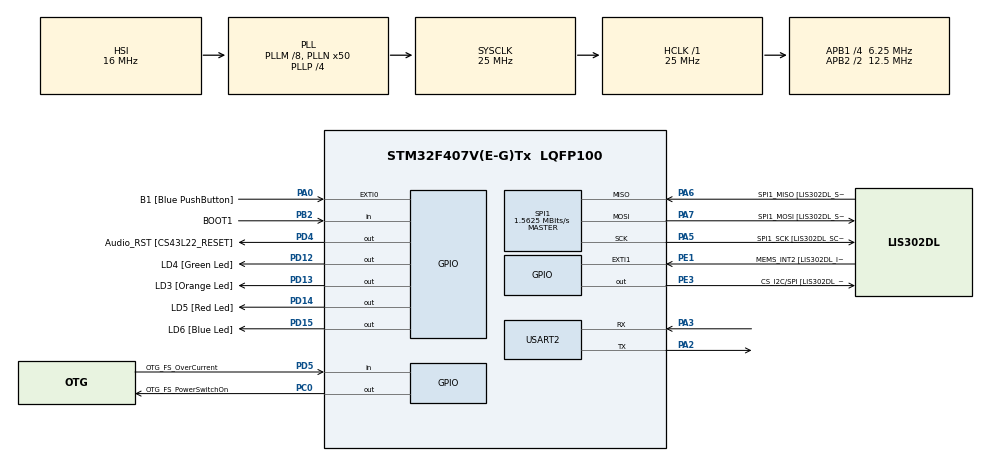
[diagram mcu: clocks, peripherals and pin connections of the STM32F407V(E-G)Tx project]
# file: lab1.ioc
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Mcu.Family=STM32F4
Mcu.Name=STM32F407V(E-G)Tx
Mcu.Package=LQFP100
NVIC.PriorityGroup=NVIC_PRIORITYGROUP_0
PA0-WKUP.GPIO_Label=B1 [Blue PushButton]
PA0-WKUP.Signal=GPXTI0
PA10.GPIO_Label=OTG_FS_ID
PA10.GPIO_Mode=GPIO_MODE_AF_PP
PA10.GPIO_PuPd=GPIO_NOPULL
PA10.GPIO_Speed=GPIO_SPEED_FREQ_LOW
PA10.Signal=USB_OTG_FS_ID
PA11.GPIO_Label=OTG_FS_DM
PA11.GPIO_Mode=GPIO_MODE_AF_PP
PA11.GPIO_PuPd=GPIO_NOPULL
PA11.GPIO_Speed=GPIO_SPEED_FREQ_LOW
PA11.Signal=USB_OTG_FS_DM
PA12.GPIO_Label=OTG_FS_DP
PA12.GPIO_Mode=GPIO_MODE_AF_PP
PA12.GPIO_PuPd=GPIO_NOPULL
PA12.GPIO_Speed=GPIO_SPEED_FREQ_LOW
PA12.Signal=USB_OTG_FS_DP
PA13.GPIO_Label=SWDIO
PA13.Signal=SYS_JTMS-SWDIO
PA14.GPIO_Label=SWCLK
PA14.Signal=SYS_JTCK-SWCLK
PA2.Mode=Asynchronous
PA2.Signal=USART2_TX
PA3.Mode=Asynchronous
PA3.Signal=USART2_RX
PA4.GPIO_Label=I2S3_WS [CS43L22_LRCK]
PA4.GPIO_Mode=GPIO_MODE_AF_PP
PA4.GPIO_PuPd=GPIO_NOPULL
PA4.GPIO_Speed=GPIO_SPEED_FREQ_LOW
PA4.Signal=I2S3_WS
PA5.GPIO_Label=SPI1_SCK [LIS302DL_SCL/SPC]
PA5.GPIO_Mode=GPIO_MODE_AF_PP
PA5.GPIO_PuPd=GPIO_NOPULL
PA5.GPIO_Speed=GPIO_SPEED_FREQ_LOW
PA5.Mode=Full_Duplex_Master
PA5.Signal=SPI1_SCK
PA6.GPIO_Label=SPI1_MISO [LIS302DL_SDO]
PA6.GPIO_Mode=GPIO_MODE_AF_PP
PA6.GPIO_PuPd=GPIO_NOPULL
PA6.GPIO_Speed=GPIO_SPEED_FREQ_LOW
PA6.Mode=Full_Duplex_Master
PA6.Signal=SPI1_MISO
PA7.GPIO_Label=SPI1_MOSI [LIS302DL_SDA/SDI/SDO]
PA7.GPIO_Mode=GPIO_MODE_AF_PP
PA7.GPIO_PuPd=GPIO_NOPULL
PA7.GPIO_Speed=GPIO_SPEED_FREQ_LOW
PA7.Mode=Full_Duplex_Master
PA7.Signal=SPI1_MOSI
PA9.GPIO_Label=VBUS_FS
PA9.GPIO_Mode=GPIO_MODE_INPUT
PA9.GPIO_PuPd=GPIO_NOPULL
PA9.Signal=USB_OTG_FS_VBUS
PB10.GPIO_Label=CLK_IN [MP45DT02_CLK]
PB10.GPIO_Mode=GPIO_MODE_AF_PP
PB10.GPIO_PuPd=GPIO_NOPULL
PB10.GPIO_Speed=GPIO_SPEED_FREQ_LOW
PB10.Signal=I2S2_CK
PB2.GPIO_Label=BOOT1
PB2.GPIO_Mode=GPIO_MODE_INPUT
PB2.GPIO_PuPd=GPIO_NOPULL
PB2.Signal=GPIO_Input
PB3.GPIO_Label=SWO
PB3.Signal=SYS_JTDO-SWO
PB6.GPIO_Label=Audio_SCL [CS43L22_SCL]
PB6.GPIO_Mode=GPIO_MODE_AF_OD
PB6.GPIO_PuPd=GPIO_NOPULL
PB6.GPIO_Speed=GPIO_SPEED_FREQ_LOW
PB6.Signal=I2C1_SCL
PB9.GPIO_Label=Audio_SDA [CS43L22_SDA]
PB9.GPIO_Mode=GPIO_MODE_AF_OD
PB9.GPIO_PuPd=GPIO_NOPULL
PB9.GPIO_Speed=GPIO_SPEED_FREQ_LOW
PB9.Signal=I2C1_SDA
PC0.GPIO_Label=OTG_FS_PowerSwitchOn
PC0.GPIO_PuPd=GPIO_NOPULL
PC0.GPIO_Speed=GPIO_SPEED_FREQ_LOW
PC0.PinState=GPIO_PIN_SET
PC0.Signal=GPIO_Output
PC10.GPIO_Label=I2S3_SCK [CS43L22_SCLK]
PC10.GPIO_Mode=GPIO_MODE_AF_PP
PC10.GPIO_PuPd=GPIO_NOPULL
PC10.GPIO_Speed=GPIO_SPEED_FREQ_LOW
PC10.Signal=I2S3_CK
PC12.GPIO_Label=I2S3_SD [CS43L22_SDIN]
PC12.GPIO_Mode=GPIO_MODE_AF_PP
PC12.GPIO_PuPd=GPIO_NOPULL
PC12.GPIO_Speed=GPIO_SPEED_FREQ_LOW
PC12.Signal=I2S3_SD
PC14-OSC32_IN.GPIO_Label=PC14-OSC32_IN
PC14-OSC32_IN.Signal=RCC_OSC32_IN
PC15-OSC32_OUT.GPIO_Label=PC15-OSC32_OUT
PC15-OSC32_OUT.Signal=RCC_OSC32_OUT
PC3.GPIO_Label=PDM_OUT [MP45DT02_DOUT]
PC3.GPIO_Mode=GPIO_MODE_AF_PP
PC3.GPIO_PuPd=GPIO_NOPULL
PC3.GPIO_Speed=GPIO_SPEED_FREQ_LOW
PC3.Signal=I2S2_SD
PC7.GPIO_Label=I2S3_MCK [CS43L22_MCLK]
PC7.GPIO_Mode=GPIO_MODE_AF_PP
PC7.GPIO_PuPd=GPIO_NOPULL
PC7.GPIO_Speed=GPIO_SPEED_FREQ_LOW
PC7.Signal=I2S3_MCK
PD12.GPIO_Label=LD4 [Green Led]
PD12.GPIO_PuPd=GPIO_NOPULL
PD12.GPIO_Speed=GPIO_SPEED_FREQ_LOW
PD12.Signal=GPIO_Output
PD13.GPIO_Label=LD3 [Orange Led]
PD13.GPIO_PuPd=GPIO_NOPULL
PD13.GPIO_Speed=GPIO_SPEED_FREQ_LOW
PD13.Signal=GPIO_Output
PD14.GPIO_Label=LD5 [Red Led]
PD14.GPIO_PuPd=GPIO_NOPULL
PD14.GPIO_Speed=GPIO_SPEED_FREQ_LOW
PD14.Signal=GPIO_Output
PD15.GPIO_Label=LD6 [Blue Led]
PD15.GPIO_PuPd=GPIO_NOPULL
PD15.GPIO_Speed=GPIO_SPEED_FREQ_LOW
PD15.Signal=GPIO_Output
PD4.GPIO_Label=Audio_RST [CS43L22_RESET]
PD4.GPIO_PuPd=GPIO_NOPULL
PD4.GPIO_Speed=GPIO_SPEED_FREQ_LOW
PD4.Signal=GPIO_Output
PD5.GPIO_Label=OTG_FS_OverCurrent
PD5.GPIO_Mode=GPIO_MODE_INPUT
PD5.GPIO_PuPd=GPIO_NOPULL
PD5.Signal=GPIO_Input
PE1.GPIO_Label=MEMS_INT2 [LIS302DL_INT2]
PE1.GPIO_ModeDefaultEXTI=GPIO_MODE_EVT_RISING
PE1.GPIO_PuPd=GPIO_NOPULL
PE1.Signal=GPXTI1
PE3.GPIO_Label=CS_I2C/SPI [LIS302DL_CS_I2C/SPI]
PE3.GPIO_PuPd=GPIO_NOPULL
PE3.GPIO_Speed=GPIO_SPEED_FREQ_LOW
PE3.Signal=GPIO_Output
PH0-OSC_IN.GPIO_Label=PH0-OSC_IN
PH0-OSC_IN.Signal=RCC_OSC_IN
PH1-OSC_OUT.GPIO_Label=PH1-OSC_OUT
PH1-OSC_OUT.Signal=RCC_OSC_OUT
ProjectManager.HeapSize=0x200
ProjectManager.StackSize=0x400
ProjectManager.TargetToolchain=SW4STM32
RCC.48MHZClocksFreq_Value=14285714.285714285
RCC.AHBFreq_Value=25000000
RCC.APB1CLKDivider=RCC_HCLK_DIV4
RCC.APB1Freq_Value=6250000
RCC.APB1TimFreq_Value=12500000
RCC.APB2CLKDivider=RCC_HCLK_DIV2
RCC.APB2Freq_Value=12500000
RCC.APB2TimFreq_Value=25000000
RCC.CortexFreq_Value=25000000
RCC.HCLKFreq_Value=25000000
RCC.HSE_VALUE=8000000
RCC.HSI_VALUE=16000000
RCC.LSE_VALUE=32768
RCC.PLLM=8
RCC.PLLN=50
RCC.PLLP=RCC_PLLP_DIV4
RCC.PLLQ=7
RCC.SYSCLKFreq_VALUE=25000000
RCC.SYSCLKSource=RCC_SYSCLKSOURCE_PLLCLK
RCC.VCOOutputFreq_Value=100000000
SPI1.BaudRatePrescaler=SPI_BAUDRATEPRESCALER_8
SPI1.CalculateBaudRate=1.5625 MBits/s
SPI1.Mode=SPI_MODE_MASTER
board=STM32F407G-DISC1

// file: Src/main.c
/**
  ******************************************************************************
  * File Name          : main.c
  * Description        : Main program body
  ******************************************************************************
  *
  * COPYRIGHT(c) 2559 STMicroelectronics
  *
  * Redistribution and use in source and binary forms, with or without modification,
  * are permitted provided that the following conditions are met:
  *   1. Redistributions of source code must retain the above copyright notice,
  *      this list of conditions and the following disclaimer.
  *   2. Redistributions in binary form must reproduce the above copyright notice,
  *      this list of conditions and the following disclaimer in the documentation
  *      and/or other materials provided with the distribution.
  *   3. Neither the name of STMicroelectronics nor the names of its contributors
  *      may be used to endorse or promote products derived from this software
  *      without specific prior written permission.
  *
  * THIS SOFTWARE IS PROVIDED BY THE COPYRIGHT HOLDERS AND CONTRIBUTORS "AS IS"
  * AND ANY EXPRESS OR IMPLIED WARRANTIES, INCLUDING, BUT NOT LIMITED TO, THE
  * IMPLIED WARRANTIES OF MERCHANTABILITY AND FITNESS FOR A PARTICULAR PURPOSE ARE
  * DISCLAIMED. IN NO EVENT SHALL THE COPYRIGHT HOLDER OR CONTRIBUTORS BE LIABLE
  * FOR ANY DIRECT, INDIRECT, INCIDENTAL, SPECIAL, EXEMPLARY, OR CONSEQUENTIAL
  * DAMAGES (INCLUDING, BUT NOT LIMITED TO, PROCUREMENT OF SUBSTITUTE GOODS OR
  * SERVICES; LOSS OF USE, DATA, OR PROFITS; OR BUSINESS INTERRUPTION) HOWEVER
  * CAUSED AND ON ANY THEORY OF LIABILITY, WHETHER IN CONTRACT, STRICT LIABILITY,
  * OR TORT (INCLUDING NEGLIGENCE OR OTHERWISE) ARISING IN ANY WAY OUT OF THE USE
  * OF THIS SOFTWARE, EVEN IF ADVISED OF THE POSSIBILITY OF SUCH DAMAGE.
  *
  ******************************************************************************
  */
#include "main.h"
#include "stm32f4xx_hal.h"

SPI_HandleTypeDef hspi1;

UART_HandleTypeDef huart2;

/* USER CODE BEGIN PV */
/* Private variables ---------------------------------------------------------*/

/* USER CODE END PV */

void SystemClock_Config(void);
void Error_Handler(void);
static void MX_GPIO_Init(void);
static void MX_SPI1_Init(void);
static void MX_USART2_UART_Init(void);

/* USER CODE BEGIN PFP */
/* Private function prototypes -----------------------------------------------*/

/* USER CODE END PFP */

int main(void)
{

  /* MCU Configuration----------------------------------------------------------*/

  /* Reset of all peripherals, Initializes the Flash interface and the Systick. */
  HAL_Init();

  /* Configure the system clock */
  SystemClock_Config();

  /* Initialize all configured peripherals */
  MX_GPIO_Init();
  MX_SPI1_Init();
  MX_USART2_UART_Init();

  /* USER CODE BEGIN 2 */
  // ----- initial accelerometer ---- transmit
  HAL_GPIO_WritePin(GPIOE,GPIO_PIN_3,GPIO_PIN_RESET);
  uint8_t address = 0x20;
  HAL_SPI_Transmit(&hspi1,&address,1,50);

  uint8_t data = 0x67;
  HAL_SPI_Transmit(&hspi1,&data,1,50);
  HAL_GPIO_WritePin(GPIOE,GPIO_PIN_3,GPIO_PIN_SET);

  int8_t x,y,z;
  char x_out[20],y_out[20],z_out[20];
  /* USER CODE END 2 */

  /* Infinite loop */
  while (1)
  {

  /* USER CODE BEGIN 3 */
	  //Receive
	  HAL_GPIO_WritePin(GPIOE, GPIO_PIN_3, GPIO_PIN_RESET);

		address = 0x29 + 0x80;
		HAL_SPI_Transmit(&hspi1, &address, 1, 50);
		HAL_SPI_Receive(&hspi1, &x, 1, 50);

		address = 0x2B + 0x80;
		HAL_SPI_Transmit(&hspi1, &address, 1, 50);
		HAL_SPI_Receive(&hspi1, &y, 1, 50);

		address = 0x2D + 0x80;
		HAL_SPI_Transmit(&hspi1, &address, 1, 50);
		HAL_SPI_Receive(&hspi1, &z, 1, 50);

		HAL_GPIO_WritePin(GPIOE, GPIO_PIN_3, GPIO_PIN_SET);
		itoa(x, x_out, 10);
		itoa(y, y_out, 10);
		itoa(z, z_out, 10);
		int i = 0, j = 0, k = 0;
		HAL_UART_Transmit(&huart2, "x = ", 4, 1000);
		while (x_out[i] != '\0') {
			HAL_UART_Transmit(&huart2, &x_out[i], 1, 10000);
			i++;
		}
		HAL_UART_Transmit(&huart2, "\ty = ", 5, 1000);
		while (y_out[j] != '\0') {
			HAL_UART_Transmit(&huart2, &y_out[j], 1, 10000);
			j++;
		}
		HAL_UART_Transmit(&huart2, "\tz = ", 5, 1000);
		while (z_out[k] != '\0') {
			HAL_UART_Transmit(&huart2, &z_out[k], 1, 10000);
			k++;
		}
		HAL_UART_Transmit(&huart2, "\n\r", 2, 1000);

  }
  /* USER CODE END 3 */

}

/** System Clock Configuration
*/
void SystemClock_Config(void)
{

  RCC_OscInitTypeDef RCC_OscInitStruct;
  RCC_ClkInitTypeDef RCC_ClkInitStruct;

    /**Configure the main internal regulator output voltage
    */
  __HAL_RCC_PWR_CLK_ENABLE();

  __HAL_PWR_VOLTAGESCALING_CONFIG(PWR_REGULATOR_VOLTAGE_SCALE1);

    /**Initializes the CPU, AHB and APB busses clocks
    */
  RCC_OscInitStruct.OscillatorType = RCC_OSCILLATORTYPE_HSI;
  RCC_OscInitStruct.HSIState = RCC_HSI_ON;
  RCC_OscInitStruct.HSICalibrationValue = 16;
  RCC_OscInitStruct.PLL.PLLState = RCC_PLL_ON;
  RCC_OscInitStruct.PLL.PLLSource = RCC_PLLSOURCE_HSI;
  RCC_OscInitStruct.PLL.PLLM = 8;
  RCC_OscInitStruct.PLL.PLLN = 50;
  RCC_OscInitStruct.PLL.PLLP = RCC_PLLP_DIV4;
  RCC_OscInitStruct.PLL.PLLQ = 7;
  if (HAL_RCC_OscConfig(&RCC_OscInitStruct) != HAL_OK)
  {
    Error_Handler();
  }

    /**Initializes the CPU, AHB and APB busses clocks
    */
  RCC_ClkInitStruct.ClockType = RCC_CLOCKTYPE_HCLK|RCC_CLOCKTYPE_SYSCLK
                              |RCC_CLOCKTYPE_PCLK1|RCC_CLOCKTYPE_PCLK2;
  RCC_ClkInitStruct.SYSCLKSource = RCC_SYSCLKSOURCE_PLLCLK;
  RCC_ClkInitStruct.AHBCLKDivider = RCC_SYSCLK_DIV1;
  RCC_ClkInitStruct.APB1CLKDivider = RCC_HCLK_DIV4;
  RCC_ClkInitStruct.APB2CLKDivider = RCC_HCLK_DIV2;

  if (HAL_RCC_ClockConfig(&RCC_ClkInitStruct, FLASH_LATENCY_0) != HAL_OK)
  {
    Error_Handler();
  }

    /**Configure the Systick interrupt time
    */
  HAL_SYSTICK_Config(HAL_RCC_GetHCLKFreq()/1000);

    /**Configure the Systick
    */
  HAL_SYSTICK_CLKSourceConfig(SYSTICK_CLKSOURCE_HCLK);

  /* SysTick_IRQn interrupt configuration */
  HAL_NVIC_SetPriority(SysTick_IRQn, 0, 0);
}

/* SPI1 init function */
static void MX_SPI1_Init(void)
{

  hspi1.Instance = SPI1;
  hspi1.Init.Mode = SPI_MODE_MASTER;
  hspi1.Init.Direction = SPI_DIRECTION_2LINES;
  hspi1.Init.DataSize = SPI_DATASIZE_8BIT;
  hspi1.Init.CLKPolarity = SPI_POLARITY_LOW;
  hspi1.Init.CLKPhase = SPI_PHASE_1EDGE;
  hspi1.Init.NSS = SPI_NSS_SOFT;
  hspi1.Init.BaudRatePrescaler = SPI_BAUDRATEPRESCALER_8;
  hspi1.Init.FirstBit = SPI_FIRSTBIT_MSB;
  hspi1.Init.TIMode = SPI_TIMODE_DISABLE;
  hspi1.Init.CRCCalculation = SPI_CRCCALCULATION_DISABLE;
  hspi1.Init.CRCPolynomial = 10;
  if (HAL_SPI_Init(&hspi1) != HAL_OK)
  {
    Error_Handler();
  }

}

/* USART2 init function */
static void MX_USART2_UART_Init(void)
{

  huart2.Instance = USART2;
  huart2.Init.BaudRate = 115200;
  huart2.Init.WordLength = UART_WORDLENGTH_8B;
  huart2.Init.StopBits = UART_STOPBITS_1;
  huart2.Init.Parity = UART_PARITY_NONE;
  huart2.Init.Mode = UART_MODE_TX_RX;
  huart2.Init.HwFlowCtl = UART_HWCONTROL_NONE;
  huart2.Init.OverSampling = UART_OVERSAMPLING_16;
  if (HAL_UART_Init(&huart2) != HAL_OK)
  {
    Error_Handler();
  }

}

/** Configure pins as
        * Analog
        * Input
        * Output
        * EVENT_OUT
        * EXTI
     PC3   ------> I2S2_SD
     PA4   ------> I2S3_WS
     PB10   ------> I2S2_CK
     PC7   ------> I2S3_MCK
     PA9   ------> USB_OTG_FS_VBUS
     PA10   ------> USB_OTG_FS_ID
     PA11   ------> USB_OTG_FS_DM
     PA12   ------> USB_OTG_FS_DP
     PC10   ------> I2S3_CK
     PC12   ------> I2S3_SD
     PB6   ------> I2C1_SCL
     PB9   ------> I2C1_SDA
*/
static void MX_GPIO_Init(void)
{

  GPIO_InitTypeDef GPIO_InitStruct;

  /* GPIO Ports Clock Enable */
  __HAL_RCC_GPIOE_CLK_ENABLE();
  __HAL_RCC_GPIOC_CLK_ENABLE();
  __HAL_RCC_GPIOH_CLK_ENABLE();
  __HAL_RCC_GPIOA_CLK_ENABLE();
  __HAL_RCC_GPIOB_CLK_ENABLE();
  __HAL_RCC_GPIOD_CLK_ENABLE();

  /*Configure GPIO pin Output Level */
  HAL_GPIO_WritePin(CS_I2C_SPI_GPIO_Port, CS_I2C_SPI_Pin, GPIO_PIN_RESET);

  /*Configure GPIO pin Output Level */
  HAL_GPIO_WritePin(OTG_FS_PowerSwitchOn_GPIO_Port, OTG_FS_PowerSwitchOn_Pin, GPIO_PIN_SET);

  /*Configure GPIO pin Output Level */
  HAL_GPIO_WritePin(GPIOD, LD4_Pin|LD3_Pin|LD5_Pin|LD6_Pin
                          |Audio_RST_Pin, GPIO_PIN_RESET);

  /*Configure GPIO pin : CS_I2C_SPI_Pin */
  GPIO_InitStruct.Pin = CS_I2C_SPI_Pin;
  GPIO_InitStruct.Mode = GPIO_MODE_OUTPUT_PP;
  GPIO_InitStruct.Pull = GPIO_NOPULL;
  GPIO_InitStruct.Speed = GPIO_SPEED_FREQ_LOW;
  HAL_GPIO_Init(CS_I2C_SPI_GPIO_Port, &GPIO_InitStruct);

  /*Configure GPIO pin : OTG_FS_PowerSwitchOn_Pin */
  GPIO_InitStruct.Pin = OTG_FS_PowerSwitchOn_Pin;
  GPIO_InitStruct.Mode = GPIO_MODE_OUTPUT_PP;
  GPIO_InitStruct.Pull = GPIO_NOPULL;
  GPIO_InitStruct.Speed = GPIO_SPEED_FREQ_LOW;
  HAL_GPIO_Init(OTG_FS_PowerSwitchOn_GPIO_Port, &GPIO_InitStruct);

  /*Configure GPIO pin : PDM_OUT_Pin */
  GPIO_InitStruct.Pin = PDM_OUT_Pin;
  GPIO_InitStruct.Mode = GPIO_MODE_AF_PP;
  GPIO_InitStruct.Pull = GPIO_NOPULL;
  GPIO_InitStruct.Speed = GPIO_SPEED_FREQ_LOW;
  GPIO_InitStruct.Alternate = GPIO_AF5_SPI2;
  HAL_GPIO_Init(PDM_OUT_GPIO_Port, &GPIO_InitStruct);

  /*Configure GPIO pin : B1_Pin */
  GPIO_InitStruct.Pin = B1_Pin;
  GPIO_InitStruct.Mode = GPIO_MODE_IT_RISING;
  GPIO_InitStruct.Pull = GPIO_NOPULL;
  HAL_GPIO_Init(B1_GPIO_Port, &GPIO_InitStruct);

  /*Configure GPIO pin : I2S3_WS_Pin */
  GPIO_InitStruct.Pin = I2S3_WS_Pin;
  GPIO_InitStruct.Mode = GPIO_MODE_AF_PP;
  GPIO_InitStruct.Pull = GPIO_NOPULL;
  GPIO_InitStruct.Speed = GPIO_SPEED_FREQ_LOW;
  GPIO_InitStruct.Alternate = GPIO_AF6_SPI3;
  HAL_GPIO_Init(I2S3_WS_GPIO_Port, &GPIO_InitStruct);

  /*Configure GPIO pin : BOOT1_Pin */
  GPIO_InitStruct.Pin = BOOT1_Pin;
  GPIO_InitStruct.Mode = GPIO_MODE_INPUT;
  GPIO_InitStruct.Pull = GPIO_NOPULL;
  HAL_GPIO_Init(BOOT1_GPIO_Port, &GPIO_InitStruct);

  /*Configure GPIO pin : CLK_IN_Pin */
  GPIO_InitStruct.Pin = CLK_IN_Pin;
  GPIO_InitStruct.Mode = GPIO_MODE_AF_PP;
  GPIO_InitStruct.Pull = GPIO_NOPULL;
  GPIO_InitStruct.Speed = GPIO_SPEED_FREQ_LOW;
  GPIO_InitStruct.Alternate = GPIO_AF5_SPI2;
  HAL_GPIO_Init(CLK_IN_GPIO_Port, &GPIO_InitStruct);

  /*Configure GPIO pins : LD4_Pin LD3_Pin LD5_Pin LD6_Pin
                           Audio_RST_Pin */
  GPIO_InitStruct.Pin = LD4_Pin|LD3_Pin|LD5_Pin|LD6_Pin
                          |Audio_RST_Pin;
  GPIO_InitStruct.Mode = GPIO_MODE_OUTPUT_PP;
  GPIO_InitStruct.Pull = GPIO_NOPULL;
  GPIO_InitStruct.Speed = GPIO_SPEED_FREQ_LOW;
  HAL_GPIO_Init(GPIOD, &GPIO_InitStruct);

  /*Configure GPIO pins : I2S3_MCK_Pin I2S3_SCK_Pin I2S3_SD_Pin */
  GPIO_InitStruct.Pin = I2S3_MCK_Pin|I2S3_SCK_Pin|I2S3_SD_Pin;
  GPIO_InitStruct.Mode = GPIO_MODE_AF_PP;
  GPIO_InitStruct.Pull = GPIO_NOPULL;
  GPIO_InitStruct.Speed = GPIO_SPEED_FREQ_LOW;
  GPIO_InitStruct.Alternate = GPIO_AF6_SPI3;
  HAL_GPIO_Init(GPIOC, &GPIO_InitStruct);

  /*Configure GPIO pin : VBUS_FS_Pin */
  GPIO_InitStruct.Pin = VBUS_FS_Pin;
  GPIO_InitStruct.Mode = GPIO_MODE_INPUT;
  GPIO_InitStruct.Pull = GPIO_NOPULL;
  HAL_GPIO_Init(VBUS_FS_GPIO_Port, &GPIO_InitStruct);

  /*Configure GPIO pins : OTG_FS_ID_Pin OTG_FS_DM_Pin OTG_FS_DP_Pin */
  GPIO_InitStruct.Pin = OTG_FS_ID_Pin|OTG_FS_DM_Pin|OTG_FS_DP_Pin;
  GPIO_InitStruct.Mode = GPIO_MODE_AF_PP;
  GPIO_InitStruct.Pull = GPIO_NOPULL;
  GPIO_InitStruct.Speed = GPIO_SPEED_FREQ_LOW;
  GPIO_InitStruct.Alternate = GPIO_AF10_OTG_FS;
  HAL_GPIO_Init(GPIOA, &GPIO_InitStruct);

  /*Configure GPIO pin : OTG_FS_OverCurrent_Pin */
  GPIO_InitStruct.Pin = OTG_FS_OverCurrent_Pin;
  GPIO_InitStruct.Mode = GPIO_MODE_INPUT;
  GPIO_InitStruct.Pull = GPIO_NOPULL;
  HAL_GPIO_Init(OTG_FS_OverCurrent_GPIO_Port, &GPIO_InitStruct);

  /*Configure GPIO pins : Audio_SCL_Pin Audio_SDA_Pin */
  GPIO_InitStruct.Pin = Audio_SCL_Pin|Audio_SDA_Pin;
  GPIO_InitStruct.Mode = GPIO_MODE_AF_OD;
  GPIO_InitStruct.Pull = GPIO_PULLUP;
  GPIO_InitStruct.Speed = GPIO_SPEED_FREQ_LOW;
  GPIO_InitStruct.Alternate = GPIO_AF4_I2C1;
  HAL_GPIO_Init(GPIOB, &GPIO_InitStruct);

  /*Configure GPIO pin : MEMS_INT2_Pin */
  GPIO_InitStruct.Pin = MEMS_INT2_Pin;
  GPIO_InitStruct.Mode = GPIO_MODE_EVT_RISING;
  GPIO_InitStruct.Pull = GPIO_NOPULL;
  HAL_GPIO_Init(MEMS_INT2_GPIO_Port, &GPIO_InitStruct);

}

void Error_Handler(void)
{
  while(1)
  {
  }
}

/************************ (C) COPYRIGHT STMicroelectronics *****END OF FILE****/
